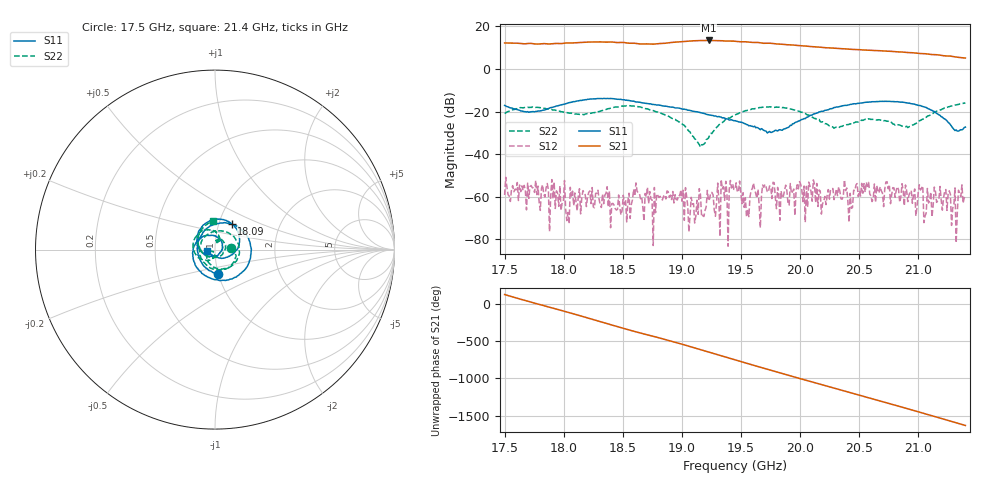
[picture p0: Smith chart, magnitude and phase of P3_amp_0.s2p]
!Created with skrf (http://scikit-rf.org).
# GHz S RI R 50.0
!freq ReS11 ImS11 ReS21 ImS21 ReS12 ImS12 ReS22 ImS22
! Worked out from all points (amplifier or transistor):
!   401 points, 17.5 GHz to 21.4 GHz, reference 50 ohm
!   highest |S21| = 13.4 dB at 19.23 GHz (marker M1)
!   |S21| within 3 dB of that: start of sweep to 20.14 GHz
!   unconditionally stable (mu >= 1): start of sweep to end of sweep
!   at 18.14 GHz: K = 289.30, MAG = 12.7 dB, |S12| = -68.1 dB
!   at 19.45 GHz: K = 74.73, MAG = 13.1 dB, |S12| = -56.6 dB
!   at 21.4 GHz: K = 272.96, MAG = 5.3 dB, |S12| = -60.1 dB
!   S11 on the Smith chart (normalised r, x): 17.5 GHz: 0.99, -0.28; 18.09 GHz: 1.15, +0.34; 21.4 GHz: 0.92, -0.01
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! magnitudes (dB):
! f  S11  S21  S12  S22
! 17.5 GHz  -17.1  12.2  -59.2  -20.9
! 18.04 GHz  -15.9  12.2  -67.4  -20.6
! 18.09 GHz  -15.3  12.3  -64.2  -20.9
! 18.15 GHz  -14.8  12.5  -60.5  -21.2
! 18.81 GHz  -17.0  11.9  -60.4  -20.5
! 19.19 GHz  -20.9  13.4  -69.3  -35.3
! 19.23 GHz  -21.5  13.4  -61.9  -32.4
! 19.45 GHz  -24.3  13.0  -56.6  -21.6
! 19.55 GHz  -26.1  12.7  -69.6  -19.5
! 19.61 GHz  -27.2  12.5  -53.6  -18.8
! 19.65 GHz  -28.1  12.4  -64.3  -18.1
! 19.7 GHz  -29.0  12.1  -54.2  -17.8
! 19.81 GHz  -29.1  11.7  -55.6  -17.9
! 20.1 GHz  -21.6  10.5  -62.1  -22.6
! 20.43 GHz  -16.6  9.3  -58.4  -25.7
! 20.47 GHz  -16.4  9.2  -54.5  -24.9
! 20.76 GHz  -15.2  8.3  -54.3  -25.1
! 21.02 GHz  -17.2  7.3  -56.8  -24.2
! 21.07 GHz  -18.1  7.1  -67.6  -22.7
! 21.24 GHz  -24.4  6.1  -66.4  -18.2
! 21.3 GHz  -28.3  5.8  -63.8  -17.0
! 21.4 GHz  -27.3  5.1  -60.1  -16.0
